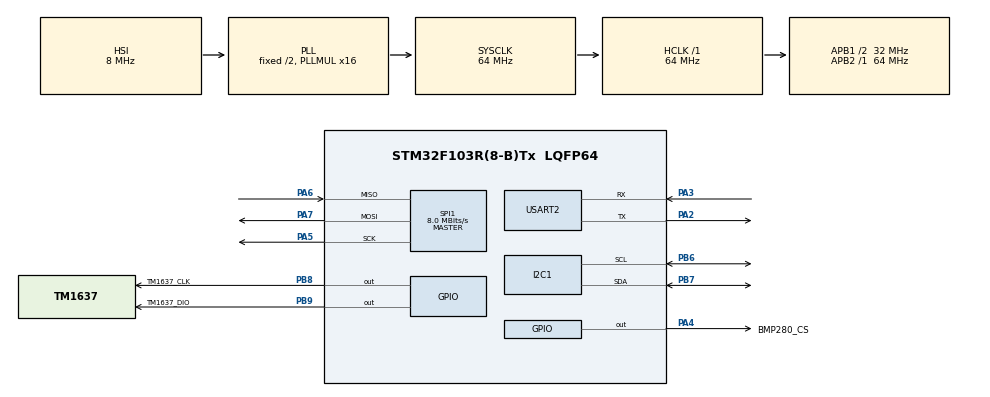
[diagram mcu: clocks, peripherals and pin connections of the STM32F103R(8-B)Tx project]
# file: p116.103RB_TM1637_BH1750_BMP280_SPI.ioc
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I2C1.I2C_Mode=I2C_Standard
Mcu.Family=STM32F1
Mcu.Name=STM32F103R(8-B)Tx
Mcu.Package=LQFP64
NVIC.PriorityGroup=NVIC_PRIORITYGROUP_4
PA13.Mode=Serial_Wire
PA13.Signal=SYS_JTMS-SWDIO
PA14.Mode=Serial_Wire
PA14.Signal=SYS_JTCK-SWCLK
PA2.Mode=Asynchronous
PA2.Signal=USART2_TX
PA3.Mode=Asynchronous
PA3.Signal=USART2_RX
PA4.GPIO_Label=BMP280_CS
PA4.GPIO_Speed=GPIO_SPEED_FREQ_HIGH
PA4.PinState=GPIO_PIN_SET
PA4.Signal=GPIO_Output
PA5.Mode=Full_Duplex_Master
PA5.Signal=SPI1_SCK
PA6.Mode=Full_Duplex_Master
PA6.Signal=SPI1_MISO
PA7.Mode=Full_Duplex_Master
PA7.Signal=SPI1_MOSI
PB6.Mode=I2C
PB6.Signal=I2C1_SCL
PB7.Mode=I2C
PB7.Signal=I2C1_SDA
PB8.GPIO_Label=TM1637_CLK
PB8.GPIO_ModeDefaultOutputPP=GPIO_MODE_OUTPUT_OD
PB8.GPIO_Speed=GPIO_SPEED_FREQ_HIGH
PB8.PinState=GPIO_PIN_SET
PB8.Signal=GPIO_Output
PB9.GPIO_Label=TM1637_DIO
PB9.GPIO_ModeDefaultOutputPP=GPIO_MODE_OUTPUT_OD
PB9.GPIO_PuPd=GPIO_PULLUP
PB9.GPIO_Speed=GPIO_SPEED_FREQ_HIGH
PB9.PinState=GPIO_PIN_SET
PB9.Signal=GPIO_Output
ProjectManager.HeapSize=0x200
ProjectManager.StackSize=0x400
ProjectManager.TargetToolchain=STM32CubeIDE
RCC.AHBFreq_Value=64000000
RCC.APB1CLKDivider=RCC_HCLK_DIV2
RCC.APB1Freq_Value=32000000
RCC.APB1TimFreq_Value=64000000
RCC.APB2Freq_Value=64000000
RCC.APB2TimFreq_Value=64000000
RCC.HCLKFreq_Value=64000000
RCC.PLLMUL=RCC_PLL_MUL16
RCC.SYSCLKFreq_VALUE=64000000
RCC.SYSCLKSource=RCC_SYSCLKSOURCE_PLLCLK
RCC.USBFreq_Value=64000000
SPI1.BaudRatePrescaler=SPI_BAUDRATEPRESCALER_8
SPI1.CLKPhase=SPI_PHASE_2EDGE
SPI1.CLKPolarity=SPI_POLARITY_HIGH
SPI1.CalculateBaudRate=8.0 MBits/s
SPI1.Direction=SPI_DIRECTION_2LINES
SPI1.Mode=SPI_MODE_MASTER
SPI1.VirtualType=VM_MASTER
USART2.VirtualMode=VM_ASYNC
board=custom

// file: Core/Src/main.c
/* USER CODE BEGIN Header */
/**
  ******************************************************************************
  * @file           : main.c
  * @brief          : Main program body
  ******************************************************************************
  * @attention
  *
  * Copyright (c) 2026 STMicroelectronics.
  * All rights reserved.
  *
  * This software is licensed under terms that can be found in the LICENSE file
  * in the root directory of this software component.
  * If no LICENSE file comes with this software, it is provided AS-IS.
  *
  ******************************************************************************
  */
/* USER CODE END Header */
#include "main.h"

/* USER CODE BEGIN Includes */
#include <stdio.h>
#include <stdbool.h>
#include "bh1750.h"
#include "bmp280.h"
#include "tm1637.h"
/* USER CODE END Includes */

/* USER CODE BEGIN PD */
/* BH1750 조도 읽기 주기
 * H-Resolution 모드 측정 시간 typ 120 ms / max 180 ms (BH1750FVI 데이터시트 p.2)
 * → max 180 ms보다 긴 200 ms 주기로 읽어 매번 새 측정값을 받음 */
#define BH1750_READ_PERIOD_MS    200U

/* BH1750 연속 실패 로그 기준
 * 일시적인 1~2회 실패는 무시하고, 5회 연속(약 1초) 실패 시 1회만 로그 */
#define BH1750_FAIL_LOG_COUNT    5U
/* USER CODE END PD */

I2C_HandleTypeDef hi2c1;

SPI_HandleTypeDef hspi1;

UART_HandleTypeDef huart2;

/* USER CODE BEGIN PV */
static float illuminance = 0.0f; // 조도 (lx) - BH1750 (I2C1)
static float temperature = 0.0f; // 온도 (℃) - BMP280 (SPI1)
static float pressure    = 0.0f; // 기압 (hPa) - BMP280 (SPI1)
static float altitude    = 0.0f; // 고도 (m) - BMP280 (SPI1)
/* USER CODE END PV */

void SystemClock_Config(void);
static void MX_GPIO_Init(void);
static void MX_USART2_UART_Init(void);
static void MX_I2C1_Init(void);
static void MX_SPI1_Init(void);

/* USER CODE BEGIN 0 */
/* printf 출력 리다이렉션 (syscalls.c의 _write()가 1바이트씩 호출)
 * - 반환형 int: syscalls.c 선언 'extern int __io_putchar(int ch)'과 일치
 * - 줄바꿈 변환 없음: 모든 printf 문자열이 이미 "\r\n"으로 끝나므로 '\r' 중복 전송 방지 */
int __io_putchar(int ch)
{
	HAL_UART_Transmit(&huart2, (uint8_t *)&ch, 1, 0xFFFF);
	return ch;
}
/* USER CODE END 0 */

int main(void)
{

  /* MCU Configuration--------------------------------------------------------*/

  /* Reset of all peripherals, Initializes the Flash interface and the Systick. */
  HAL_Init();

  /* Configure the system clock */
  SystemClock_Config();

  /* Initialize all configured peripherals */
  MX_GPIO_Init();
  MX_USART2_UART_Init();
  MX_I2C1_Init();
  MX_SPI1_Init();
  /* USER CODE BEGIN 2 */
  printf("\r\n======================================================================\r\n");
  printf("  [p116] STM32F103RB I2C1(BH1750) + SPI1(BMP280) System Demo          \r\n");
  printf("  - I2C1 (PB6=SCL, PB7=SDA): BH1750 Ambient Light Sensor (0x23)       \r\n");
  printf("  - SPI1 (PA4=CS, PA5=SCK, PA6=MISO, PA7=MOSI): BMP280 Sensor         \r\n");
  printf("  - GPIO (PB8/PB9): TM1637 4-Digit 7-Segment (Pressure Instant)       \r\n");
  printf("  - USART2 (PA2/PA3): 115200bps PC Tera Term Output                   \r\n");
  printf("======================================================================\r\n");

  // 1. TM1637 7-Segment 초기화 및 부팅 메시지 출력 ("TEST")
  TM1637_Init();
  TM1637_DisplayString("TEST");
  HAL_Delay(300);

  // 2. 센서 초기화 상태 확인
  uint8_t BH1750_init_ok = 1;
  uint8_t BMP280_init_ok = 1;

  // [I2C1] BH1750 조도 센서 초기화
  if (BH1750_Init(&hi2c1) == HAL_OK)
  {
      printf("[I2C1] BH1750 Light Sensor Initialized Successfully! (0x23)\r\n");
  }
  else
  {
      printf("[I2C1] BH1750 Light Sensor Initialization FAILED! (0x23)\r\n");
      BH1750_init_ok = 0;
  }

  // [SPI1] BMP280 기압/온도 센서 초기화 및 부팅 위치 고도 0점 설정 (상대 고도)
  if (BMP280_Init(&hspi1) == HAL_OK)
  {
      printf("[SPI1] BMP280 Sensor Initialized!\r\n");

      // 부팅 직후 첫 측정 기압을 기준 기압으로 설정 -> 부팅 위치 = 고도 0 m
      if (BMP280_ZeroAltitude(&hspi1) == HAL_OK)
      {
          printf("[SPI1] Altitude zeroed at boot position (Ref: %.2f hPa)\r\n", BMP280_GetSeaLevelPressure());
      }
      else
      {
          printf("[SPI1] Altitude zeroing FAILED! Using default %.2f hPa\r\n", BMP280_GetSeaLevelPressure());
      }
  }
  else
  {
      printf("[SPI1] BMP280 Sensor Initialization FAILED! Check SPI1 Wiring (PA4~PA7).\r\n");
      BMP280_init_ok = 0;
  }

  // 초기화 결과 디스플레이
  if (BH1750_init_ok && BMP280_init_ok)
  {
      TM1637_DisplayString("GOOD");
      HAL_Delay(300);
  }
  else
  {
      TM1637_DisplayString("ERR ");
      HAL_Delay(300);
  }

  uint32_t lastUartTick       = 0;
  uint32_t lastSenseTick      = 0;
  uint32_t lastLuxTick        = 0;
  uint32_t luxFailCount       = 0; // BH1750 연속 실패 횟수 (0 = 정상)
  int16_t  lastDisplayedPress = 0; // 초기값 (부팅 후 최초 1회 즉시 표시 보장)
  /* USER CODE END 2 */

  /* Infinite loop */
  /* USER CODE BEGIN WHILE */
  while (1)
  {
      uint32_t currentTick = HAL_GetTick();

      // [작업 1] 200ms 주기: I2C1(BH1750) 조도 읽기 (측정 시간 max 180 ms보다 길게)
      if (currentTick - lastLuxTick >= BH1750_READ_PERIOD_MS)
      {
          lastLuxTick = currentTick;

          // 반환값으로 성공/실패 판정 (실패 시 illuminance는 이전 값 유지)
          if (BH1750_ReadLux(&hi2c1, &illuminance) == HAL_OK)
          {
              // FAILED 로그를 남겼던 경우에만 복구 로그 (비교 후 초기화)
              if (luxFailCount >= BH1750_FAIL_LOG_COUNT)
              {
                  printf("[I2C1] BH1750 read recovered\r\n");
              }
              luxFailCount = 0;
          }
          else
          {
              luxFailCount++;
              // 정확히 기준 횟수가 되는 순간 1회만 로그 (로그 폭주 방지)
              if (luxFailCount == BH1750_FAIL_LOG_COUNT)
              {
                  printf("[I2C1] BH1750 read FAILED %lu times in a row! Check PB6/PB7 wiring\r\n",
                         (unsigned long)luxFailCount);
              }
          }
      }

      // [작업 2] 100ms 주기: SPI1(BMP280) 센싱 및 TM1637 세그먼트 갱신
      if (currentTick - lastSenseTick >= 100)
      {
          lastSenseTick = currentTick;

          // 1. SPI1에서 BMP280 온도, 기압, 고도 읽기
          if (BMP280_ReadData(&hspi1, &temperature, &pressure, &altitude) == HAL_OK)
          {
              // 2. 기압 정수값이 변경되었을 때만 TM1637 7세그먼트 화면 갱신 (Dirty Check)
              int16_t press_int = (int16_t)(pressure + 0.5f);
              if (press_int != lastDisplayedPress)
              {
                  lastDisplayedPress = press_int;
                  TM1637_DisplayDecimal(press_int, false);
              }
          }
      }

      // [작업 3] 500ms 주기: PC 테라텀 UART 시리얼 출력 (소비)
      if (currentTick - lastUartTick >= 500)
      {
          lastUartTick = currentTick;

          // 센서 통신 없이, 200ms/100ms 블록이 갱신해 둔 최신 센서 변수들을 PC로 출력
          printf("[ALL SENSORS] Lux: %6.1f lx | Temp: %6.3f C | Press: %8.3f hPa | Altitude: %6.3f m\r\n",
                 illuminance, temperature, pressure, altitude);
      }
    /* USER CODE END WHILE */

  }
}

void SystemClock_Config(void)
{
  RCC_OscInitTypeDef RCC_OscInitStruct = {0};
  RCC_ClkInitTypeDef RCC_ClkInitStruct = {0};

  /** Initializes the RCC Oscillators according to the specified parameters
  * in the RCC_OscInitTypeDef structure.
  */
  RCC_OscInitStruct.OscillatorType = RCC_OSCILLATORTYPE_HSI;
  RCC_OscInitStruct.HSIState = RCC_HSI_ON;
  RCC_OscInitStruct.HSICalibrationValue = RCC_HSICALIBRATION_DEFAULT;
  RCC_OscInitStruct.PLL.PLLState = RCC_PLL_ON;
  RCC_OscInitStruct.PLL.PLLSource = RCC_PLLSOURCE_HSI_DIV2;
  RCC_OscInitStruct.PLL.PLLMUL = RCC_PLL_MUL16;
  if (HAL_RCC_OscConfig(&RCC_OscInitStruct) != HAL_OK)
  {
    Error_Handler();
  }

  /** Initializes the CPU, AHB and APB buses clocks
  */
  RCC_ClkInitStruct.ClockType = RCC_CLOCKTYPE_HCLK|RCC_CLOCKTYPE_SYSCLK
                              |RCC_CLOCKTYPE_PCLK1|RCC_CLOCKTYPE_PCLK2;
  RCC_ClkInitStruct.SYSCLKSource = RCC_SYSCLKSOURCE_PLLCLK;
  RCC_ClkInitStruct.AHBCLKDivider = RCC_SYSCLK_DIV1;
  RCC_ClkInitStruct.APB1CLKDivider = RCC_HCLK_DIV2;
  RCC_ClkInitStruct.APB2CLKDivider = RCC_HCLK_DIV1;

  if (HAL_RCC_ClockConfig(&RCC_ClkInitStruct, FLASH_LATENCY_2) != HAL_OK)
  {
    Error_Handler();
  }
}

static void MX_I2C1_Init(void)
{

  hi2c1.Instance = I2C1;
  hi2c1.Init.ClockSpeed = 100000;
  hi2c1.Init.DutyCycle = I2C_DUTYCYCLE_2;
  hi2c1.Init.OwnAddress1 = 0;
  hi2c1.Init.AddressingMode = I2C_ADDRESSINGMODE_7BIT;
  hi2c1.Init.DualAddressMode = I2C_DUALADDRESS_DISABLE;
  hi2c1.Init.OwnAddress2 = 0;
  hi2c1.Init.GeneralCallMode = I2C_GENERALCALL_DISABLE;
  hi2c1.Init.NoStretchMode = I2C_NOSTRETCH_DISABLE;
  if (HAL_I2C_Init(&hi2c1) != HAL_OK)
  {
    Error_Handler();
  }

}

static void MX_SPI1_Init(void)
{

  /* SPI1 parameter configuration*/
  hspi1.Instance = SPI1;
  hspi1.Init.Mode = SPI_MODE_MASTER;
  hspi1.Init.Direction = SPI_DIRECTION_2LINES;
  hspi1.Init.DataSize = SPI_DATASIZE_8BIT;
  hspi1.Init.CLKPolarity = SPI_POLARITY_HIGH;
  hspi1.Init.CLKPhase = SPI_PHASE_2EDGE;
  hspi1.Init.NSS = SPI_NSS_SOFT;
  hspi1.Init.BaudRatePrescaler = SPI_BAUDRATEPRESCALER_8;
  hspi1.Init.FirstBit = SPI_FIRSTBIT_MSB;
  hspi1.Init.TIMode = SPI_TIMODE_DISABLE;
  hspi1.Init.CRCCalculation = SPI_CRCCALCULATION_DISABLE;
  hspi1.Init.CRCPolynomial = 10;
  if (HAL_SPI_Init(&hspi1) != HAL_OK)
  {
    Error_Handler();
  }

}

static void MX_USART2_UART_Init(void)
{

  huart2.Instance = USART2;
  huart2.Init.BaudRate = 115200;
  huart2.Init.WordLength = UART_WORDLENGTH_8B;
  huart2.Init.StopBits = UART_STOPBITS_1;
  huart2.Init.Parity = UART_PARITY_NONE;
  huart2.Init.Mode = UART_MODE_TX_RX;
  huart2.Init.HwFlowCtl = UART_HWCONTROL_NONE;
  huart2.Init.OverSampling = UART_OVERSAMPLING_16;
  if (HAL_UART_Init(&huart2) != HAL_OK)
  {
    Error_Handler();
  }

}

static void MX_GPIO_Init(void)
{
  GPIO_InitTypeDef GPIO_InitStruct = {0};

  /* GPIO Ports Clock Enable */
  __HAL_RCC_GPIOA_CLK_ENABLE();
  __HAL_RCC_GPIOB_CLK_ENABLE();

  /*Configure GPIO pin Output Level */
  HAL_GPIO_WritePin(BMP280_CS_GPIO_Port, BMP280_CS_Pin, GPIO_PIN_SET);

  /*Configure GPIO pin Output Level */
  HAL_GPIO_WritePin(GPIOB, TM1637_CLK_Pin|TM1637_DIO_Pin, GPIO_PIN_SET);

  /*Configure GPIO pin : BMP280_CS_Pin */
  GPIO_InitStruct.Pin = BMP280_CS_Pin;
  GPIO_InitStruct.Mode = GPIO_MODE_OUTPUT_PP;
  GPIO_InitStruct.Pull = GPIO_NOPULL;
  GPIO_InitStruct.Speed = GPIO_SPEED_FREQ_HIGH;
  HAL_GPIO_Init(BMP280_CS_GPIO_Port, &GPIO_InitStruct);

  /*Configure GPIO pin : TM1637_CLK_Pin */
  GPIO_InitStruct.Pin = TM1637_CLK_Pin;
  GPIO_InitStruct.Mode = GPIO_MODE_OUTPUT_OD;
  GPIO_InitStruct.Pull = GPIO_NOPULL;
  GPIO_InitStruct.Speed = GPIO_SPEED_FREQ_HIGH;
  HAL_GPIO_Init(TM1637_CLK_GPIO_Port, &GPIO_InitStruct);

  /*Configure GPIO pin : TM1637_DIO_Pin */
  GPIO_InitStruct.Pin = TM1637_DIO_Pin;
  GPIO_InitStruct.Mode = GPIO_MODE_OUTPUT_OD;
  GPIO_InitStruct.Pull = GPIO_PULLUP;
  GPIO_InitStruct.Speed = GPIO_SPEED_FREQ_HIGH;
  HAL_GPIO_Init(TM1637_DIO_GPIO_Port, &GPIO_InitStruct);

}

void Error_Handler(void)
{
  __disable_irq();
  while (1)
  {
  }
}
